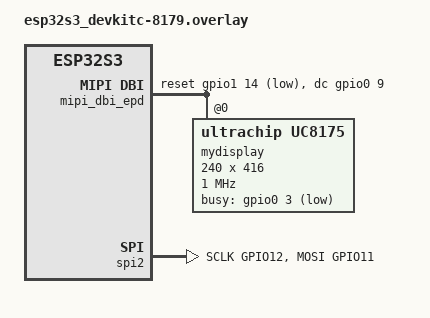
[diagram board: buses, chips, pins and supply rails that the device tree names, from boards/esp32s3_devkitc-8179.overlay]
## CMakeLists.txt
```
cmake_minimum_required(VERSION 3.20.0)

list(APPEND DTS_ROOT ${CMAKE_CURRENT_SOURCE_DIR})

# Zephyr automatically selects boards/esp32s3_devkitc_procpu.overlay for the
# esp32s3_devkitc/esp32s3/procpu board target. Experimental overlays remain
# available via DTC_OVERLAY_FILE when needed.

find_package(Zephyr REQUIRED HINTS $ENV{ZEPHYR_BASE})

project(demo_epaper)

target_sources(app PRIVATE
  src/main.c
  src/demos.c
  drivers/display/uc8253.c
)
```

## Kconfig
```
menu "E-paper LVGL demo"

choice EPAPER_DEMO_MODE
	prompt "Demo shown after boot"
	default EPAPER_DEMO_CYCLE

config EPAPER_DEMO_CYCLE
	bool "Cycle through all demos"

config EPAPER_DEMO_HELLO
	bool "Hello card"

config EPAPER_DEMO_STATUS
	bool "Status panel"

config EPAPER_DEMO_PATTERN
	bool "Monochrome test pattern"

config EPAPER_DEMO_SIDEWAYS
	bool "Sideways text"

endchoice

config EPAPER_DEMO_INTERVAL_SECONDS
	int "Seconds between demos"
	depends on EPAPER_DEMO_CYCLE
	range 5 3600
	default 10

endmenu

source "Kconfig.zephyr"
```

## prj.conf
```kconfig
# Needed for display and LVGL (prevent stack overflow and crash) 
CONFIG_MAIN_STACK_SIZE=8192
CONFIG_HEAP_MEM_POOL_SIZE=32768

# Enable display driver
CONFIG_DISPLAY=y
CONFIG_SPI=y
CONFIG_MIPI_DBI=y

# Enable LVGL widgets
CONFIG_LVGL=y
CONFIG_LV_CONF_MINIMAL=y
CONFIG_LV_USE_LABEL=y
CONFIG_LV_USE_IMG=y
CONFIG_LV_FONT_MONTSERRAT_14=y
CONFIG_LV_FONT_MONTSERRAT_20=y

# monochrome
CONFIG_LV_Z_BITS_PER_PIXEL=1
CONFIG_LV_COLOR_DEPTH_1=y

# DPI (416 px / 4.16 in ?)
CONFIG_LV_DPI_DEF=100

# use custom malloc/free
CONFIG_LV_MEM_CUSTOM=y

# heap space required (app dependent)
# CONFIG_LV_Z_MEM_POOL_NUMBER_BLOCKS=8

CONFIG_LV_Z_MEM_POOL_SIZE=8192
# Keep the render buffer below 100% so LVGL flushes a frame in several tiles.
# Zephyr's EPD adapter enables blanking on the first tile and disables it on the
# last tile; that final transition starts the UC8253 refresh.
CONFIG_LV_Z_VDB_SIZE=10

# Cycle through the demos. Select one of EPAPER_DEMO_HELLO,
# EPAPER_DEMO_STATUS, EPAPER_DEMO_PATTERN, or EPAPER_DEMO_SIDEWAYS instead to
# show a static demo.
CONFIG_EPAPER_DEMO_SIDEWAYS=y
# CONFIG_EPAPER_DEMO_CYCLE=y
# CONFIG_EPAPER_DEMO_INTERVAL_SECONDS=10

# Enable logging for debugging purposes
CONFIG_LOG=y
CONFIG_LOG_MODE_IMMEDIATE=y
CONFIG_DISPLAY_LOG_LEVEL_DBG=y
```

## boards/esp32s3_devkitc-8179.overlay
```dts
#include <zephyr/dt-bindings/mipi_dbi/mipi_dbi.h>

// SDA / MOSI GPIO 11
// SCL / SCK GPIO 12
// CS GPIO 10
// D/C GPIO 9
// RES GPIO 46 (GPIO1_14)
// BUSY GPIO 3

// Bindings
// /opt/toolchains/zephyr/dts/bindings/display/ultrachip,uc8179.yaml
//    - imports others
// /opt/toolchains/zephyr/dts/bindings/display/ultrachip,uc81xx-common.yaml
// /opt/toolchains/zephyr/dts/bindings/mipi-dbi/mipi-dbi-spi-device.yaml
// 		/opt/toolchains/zephyr/dts/bindings/mipi-dbi/mipi-dbi-device.yaml
// 				/opt/toolchains/zephyr/dts/bindings/base/base.yaml
//					pm.yaml
// 				/opt/toolchains/zephyr/dts/bindings/base/power.yaml
// /opt/toolchains/zephyr/dts/bindings/display/display-controller.yaml
// DTS
// /opt/toolchains/zephyr/boards/shields/waveshare_epaper/waveshare_epaper_gdew075t7.overlay

/ {
	chosen {
		zephyr,display = &mydisplay;
	};
	
	mipi_dbi_epd {
		// /opt/toolchains/zephyr/dts/bindings/mipi-dbi/zephyr,mipi-dbi-spi.yaml
		compatible = "zephyr,mipi-dbi-spi";
		// duplex
		// mipi-cpol
		// mipi-cpha
		// mipi-hold-cs
		// /opt/toolchains/zephyr/dts/bindings/mipi-dbi/mipi-dbi-device.yaml
		// mipi-mode
		// mipi-max-frequency
		
		spi-dev = <&spi2>;
		dc-gpios = <&gpio0 9 GPIO_ACTIVE_HIGH>;
		reset-gpios = <&gpio1 14 GPIO_ACTIVE_LOW>;   /* GPIO46 */
		#address-cells = <1>;
		#size-cells = <0>;
		
		// https://docs.zephyrproject.org/latest/build/dts/api/bindings/display/ultrachip%2Cuc8179.html
		
		mydisplay: uc8253@0 {
			// /opt/toolchains/zephyr/dts/bindings/display/ultrachip,uc81xx-common.yaml
			compatible = "ultrachip,uc8175";
			mipi-max-frequency = <1000000>;
			reg = <0>;
			busy-gpios = <&gpio0 3 GPIO_ACTIVE_LOW>;
			softstart = [17 17 17 17];
			full {
				pwr = [07 07 3f 3f];
				cdi = <07>;
				tcon = <0x22>;
				// pwr:
				// cdi:
				// tcon:
				// pll:
				// vdcs:
				// lutc:	
				// lutww:
				// lutkw:
				// lutwk:
				// lutkk:
				// lutbd:
			};
			
			// /opt/toolchains/zephyr/dts/bindings/display/display-controller.yaml
			// (in px)
			width = <240>;
			height = <416>;
		};
	};
};

&spi2 {
	pinctrl-0 = <&spi2_epaper_pins>;
	pinctrl-names = "default";
	cs-gpios = <&gpio0 10 GPIO_ACTIVE_LOW>;
	status = "okay";
};

&pinctrl {
	spi2_epaper_pins: spi2_epaper_pins {
		group1 {
			pinmux = <SPIM2_SCLK_GPIO12>;
		};
		group2 {
			pinmux = <SPIM2_MOSI_GPIO11>;
			output-low;
		};
	};
};
```

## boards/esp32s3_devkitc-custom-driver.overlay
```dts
#include <zephyr/dt-bindings/mipi_dbi/mipi_dbi.h>

// SDA / MOSI GPIO 11
// SCL / SCK GPIO 12
// CS GPIO 10
// D/C GPIO 9
// RES GPIO 46 (GPIO1_14)
// BUSY GPIO 3

/ {
	chosen {
		zephyr,display = &mydisplay;
		// zephyr,concat-buf-size
		// for streamling larget amounts of data. If you need more, look into I2C_BITRATE_FAST
	};
	
	// mini-dbi-device.yaml (included by mipi-dbi-spi-device.yaml)
	// base.yaml, power.yaml (included by mipi-dbi-device.yaml)
	mipi_dbi_epd {
		compatible = "zephyr,mipi-dbi-spi";
		// /opt/toolchains/zephyr/dts/bindings/mipi-dbi/zephyr,mipi-dbi-spi.yaml
		spi-dev = <&spi2>;
		dc-gpios = <&gpio0 9 GPIO_ACTIVE_HIGH>;
		reset-gpios = <&gpio1 14 GPIO_ACTIVE_LOW>;   /* GPIO46 */
		#address-cells = <1>;
		#size-cells = <0>;
		
		mydisplay: uc8253@0 {
			compatible = "ultrachip,uc8253";
			// /workspaces/zephyr-devcontainer/apps/10_demo_epaper/dts/bindings/display/ultrachip,uc8253.yaml
			reg = <0>;
			mipi-max-frequency = <1000000>;
			busy-gpios = <&gpio0 3 GPIO_ACTIVE_LOW>;
			psr = [1F 0D];
			// 
			// display-controller.yaml
			// (in px)
			width = <240>;
			height = <416>;
		};
	};
};

&spi2 {
	pinctrl-0 = <&spi2_epaper_pins>;
	pinctrl-names = "default";
	cs-gpios = <&gpio0 10 GPIO_ACTIVE_LOW>;
	status = "okay";
};

&pinctrl {
	spi2_epaper_pins: spi2_epaper_pins {
		group1 {
			pinmux = <SPIM2_SCLK_GPIO12>;
		};
		group2 {
			pinmux = <SPIM2_MOSI_GPIO11>;
			output-low;
		};
	};
};
```

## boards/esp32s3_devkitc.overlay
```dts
#include <zephyr/dt-bindings/mipi_dbi/mipi_dbi.h>

/*
 * WeAct Studio 3.7" GDEY037T03 / UC8253
 *
 * MOSI GPIO11, SCLK GPIO12, CS GPIO10, D/C GPIO9,
 * RESET GPIO46 (gpio1 offset 14), BUSY GPIO3.
 */

/ {
	chosen {
		zephyr,display = &epaper;
		zephyr,console = &usb_serial;
		zephyr,shell-uart = &usb_serial;
	};

	mipi_dbi_epd: mipi_dbi_epd {
		compatible = "zephyr,mipi-dbi-spi";
		spi-dev = <&spi2>;
		dc-gpios = <&gpio0 9 GPIO_ACTIVE_HIGH>;
		reset-gpios = <&gpio1 14 GPIO_ACTIVE_LOW>; /* GPIO46 */
		write-only;
		#address-cells = <1>;
		#size-cells = <0>;

		epaper: uc8253@0 {
			compatible = "ultrachip,uc8253";
			reg = <0>;
			mipi-max-frequency = <1000000>;
			mipi-hold-cs;
			busy-gpios = <&gpio0 3 GPIO_ACTIVE_LOW>;
			psr = [1f 0d];
			width = <240>;
			height = <416>;
		};
	};
};

&spi2 {
	pinctrl-0 = <&spi2_epaper_pins>;
	pinctrl-names = "default";
	cs-gpios = <&gpio0 10 GPIO_ACTIVE_LOW>;
	status = "okay";
};

&pinctrl {
	spi2_epaper_pins: spi2_epaper_pins {
		group1 {
			pinmux = <SPIM2_SCLK_GPIO12>;
		};
		group2 {
			pinmux = <SPIM2_MOSI_GPIO11>;
			output-low;
		};
	};
};

&usb_serial {
	status = "okay";
};
```

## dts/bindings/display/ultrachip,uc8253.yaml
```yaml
# Copyright (c) 2026
# SPDX-License-Identifier: Apache-2.0

description: |
  UltraChip UC8253 EPD display controller as used by the Good Display
  GDEY037T03 240x416 monochrome panel.

  The binding follows the structure of Zephyr's ultrachip,uc81xx-common
  binding. This driver currently supports full updates only, so refresh
  profile child nodes are not exposed yet.

compatible: "ultrachip,uc8253"

include: [mipi-dbi-spi-device.yaml, display-controller.yaml]

properties:
  busy-gpios:
    type: phandle-array
    required: true
    description: |
      BUSY pin. The UC8253 BUSY signal is active low, so a directly
      connected MCU pin should use GPIO_ACTIVE_LOW.

  psr:
    type: uint8-array
    default: [0x1F, 0x0D]
    description: |
      Two-byte Panel Setting Register value. The default matches the
      GDEY037T03 panel's OTP waveform configuration in GxEPD2.
```

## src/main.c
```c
#include <lvgl.h>
#include <zephyr/device.h>
#include <zephyr/drivers/display.h>
#include <zephyr/kernel.h>

#include "demos.h"

static void show_demo(enum epaper_demo_id id, uint32_t sequence)
{
	printk("Rendering LVGL demo: %s\n", epaper_demo_name(id));
	epaper_demo_render(id, sequence);

	/* Render now. The final LVGL tile triggers the e-paper refresh. */
	lv_refr_now(NULL);
	printk("Refresh complete: %s\n", epaper_demo_name(id));
}

int main(void)
{
	const struct device *display = DEVICE_DT_GET(DT_CHOSEN(zephyr_display));
	struct display_capabilities capabilities;
	uint32_t sequence = 0;

	printk("\n=== E-Paper LVGL demos ===\n");

	if (!device_is_ready(display)) {
		printk("Display device not ready\n");
		return 0;
	}

	display_get_capabilities(display, &capabilities);
	printk("Display ready: %u x %u\n", capabilities.x_resolution, capabilities.y_resolution);

#if defined(CONFIG_EPAPER_DEMO_CYCLE)
	for (;;) {
		enum epaper_demo_id id = sequence % EPAPER_DEMO_ID_COUNT;

		show_demo(id, sequence);
		sequence++;
		k_sleep(K_SECONDS(CONFIG_EPAPER_DEMO_INTERVAL_SECONDS));
	}
#else
#if defined(CONFIG_EPAPER_DEMO_STATUS)
	show_demo(EPAPER_DEMO_ID_STATUS, sequence);
#elif defined(CONFIG_EPAPER_DEMO_PATTERN)
	show_demo(EPAPER_DEMO_ID_PATTERN, sequence);
#elif defined(CONFIG_EPAPER_DEMO_SIDEWAYS)
	show_demo(EPAPER_DEMO_ID_SIDEWAYS, sequence);
#else
	show_demo(EPAPER_DEMO_ID_HELLO, sequence);
#endif

	for (;;) {
		k_sleep(K_FOREVER);
	}
#endif

	return 0;
}
```

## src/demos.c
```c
#include "demos.h"

#include <stdbool.h>
#include <stdio.h>
#include <string.h>

#include <zephyr/kernel.h>

static lv_obj_t *make_label(lv_obj_t *parent, const char *text, const lv_font_t *font)
{
	lv_obj_t *label = lv_label_create(parent);

	lv_label_set_text(label, text);
	lv_obj_set_style_text_color(label, lv_color_black(), 0);
	lv_obj_set_style_text_font(label, font, 0);
	lv_obj_set_style_text_align(label, LV_TEXT_ALIGN_CENTER, 0);

	return label;
}

static lv_obj_t *make_box(lv_obj_t *parent, lv_coord_t width, lv_coord_t height, bool filled)
{
	lv_obj_t *box = lv_obj_create(parent);

	lv_obj_remove_style_all(box);
	lv_obj_set_size(box, width, height);
	lv_obj_set_style_bg_color(box, filled ? lv_color_black() : lv_color_white(), 0);
	lv_obj_set_style_bg_opa(box, LV_OPA_COVER, 0);
	lv_obj_set_style_border_color(box, lv_color_black(), 0);
	lv_obj_set_style_border_width(box, 2, 0);
	lv_obj_set_style_pad_all(box, 8, 0);
	lv_obj_clear_flag(box, LV_OBJ_FLAG_SCROLLABLE);

	return box;
}

static lv_obj_t *prepare_screen(void)
{
	lv_obj_t *screen = lv_scr_act();

	lv_obj_clean(screen);
	lv_obj_remove_style_all(screen);
	lv_obj_set_style_bg_color(screen, lv_color_white(), 0);
	lv_obj_set_style_bg_opa(screen, LV_OPA_COVER, 0);
	lv_obj_set_style_text_color(screen, lv_color_black(), 0);
	lv_obj_set_style_pad_all(screen, 0, 0);
	lv_obj_clear_flag(screen, LV_OBJ_FLAG_SCROLLABLE);

	return screen;
}

#define CARD_IMAGE_WIDTH 64
#define CARD_IMAGE_HEIGHT 190
#define FREE_IMAGE_WIDTH 32
#define FREE_IMAGE_HEIGHT 90

static uint8_t card_image_buffer[LV_IMG_BUF_SIZE_INDEXED_1BIT(CARD_IMAGE_WIDTH,
							      CARD_IMAGE_HEIGHT)];
static uint8_t free_image_buffer[LV_IMG_BUF_SIZE_INDEXED_1BIT(FREE_IMAGE_WIDTH,
							      FREE_IMAGE_HEIGHT)];
static lv_img_dsc_t card_image_dsc;
static lv_img_dsc_t free_image_dsc;

static void set_image_pixel(uint8_t *buffer, lv_coord_t width, lv_coord_t x, lv_coord_t y)
{
	uint8_t *pixels = buffer + (sizeof(lv_color32_t) * 2U);
	uint32_t stride = ((uint32_t)width + 7U) / 8U;

	pixels[(uint32_t)y * stride + ((uint32_t)x / 8U)] |=
		1U << (7U - ((uint32_t)x & 7U));
}

static lv_obj_t *make_rotated_text_image(lv_obj_t *parent, const char *text,
					 const lv_font_t *font, lv_coord_t width,
					 lv_coord_t height, bool clockwise,
					 lv_color_t foreground, lv_color_t background,
					 uint8_t *buffer, size_t buffer_size,
					 lv_img_dsc_t *image_dsc)
{
	lv_coord_t source_width = height;
	lv_coord_t source_height = width;
	lv_coord_t text_width = 0;
	lv_coord_t pen_x;
	lv_coord_t line_y;

	for (size_t i = 0; text[i] != '\0'; i++) {
		text_width += lv_font_get_glyph_width(font, (uint8_t)text[i],
						      (uint8_t)text[i + 1]);
	}

	memset(buffer, 0, buffer_size);
	memset(image_dsc, 0, sizeof(*image_dsc));
	image_dsc->header.cf = LV_IMG_CF_INDEXED_1BIT;
	image_dsc->header.w = width;
	image_dsc->header.h = height;
	image_dsc->data_size = buffer_size;
	image_dsc->data = buffer;
	lv_img_buf_set_palette(image_dsc, 0, background);
	lv_img_buf_set_palette(image_dsc, 1, foreground);

	pen_x = (source_width - text_width) / 2;
	line_y = (source_height - font->line_height) / 2;

	for (size_t i = 0; text[i] != '\0'; i++) {
		uint32_t letter = (uint8_t)text[i];
		uint32_t next = (uint8_t)text[i + 1];
		lv_font_glyph_dsc_t glyph;
		const uint8_t *bitmap;
		lv_coord_t glyph_x;
		lv_coord_t glyph_y;

		if (!lv_font_get_glyph_dsc(font, &glyph, letter, next)) {
			continue;
		}

		bitmap = lv_font_get_glyph_bitmap(glyph.resolved_font, letter);
		glyph_x = pen_x + glyph.ofs_x;
		glyph_y = line_y + font->line_height - font->base_line - glyph.box_h - glyph.ofs_y;

		if (bitmap != NULL) {
			uint8_t mask = (1U << glyph.bpp) - 1U;

			for (lv_coord_t y = 0; y < glyph.box_h; y++) {
				for (lv_coord_t x = 0; x < glyph.box_w; x++) {
					uint32_t bit_index =
						((uint32_t)y * glyph.box_w + x) * glyph.bpp;
					uint8_t value =
						(bitmap[bit_index / 8U] >>
						 (8U - glyph.bpp - (bit_index & 7U))) &
						mask;
					lv_coord_t source_x = glyph_x + x;
					lv_coord_t source_y = glyph_y + y;
					lv_coord_t dest_x;
					lv_coord_t dest_y;

					if (value < ((mask + 1U) / 2U) || source_x < 0 ||
					    source_x >= source_width || source_y < 0 ||
					    source_y >= source_height) {
						continue;
					}

					if (clockwise) {
						dest_x = source_height - 1 - source_y;
						dest_y = source_x;
					} else {
						dest_x = source_y;
						dest_y = source_width - 1 - source_x;
					}

					set_image_pixel(buffer, width, dest_x, dest_y);
				}
			}
		}

		pen_x += glyph.adv_w;
	}

	lv_obj_t *image = lv_img_create(parent);
	lv_img_set_src(image, image_dsc);
	return image;
}

static void render_hello(lv_obj_t *screen)
{
	lv_obj_t *title = make_label(screen, "LVGL + E-PAPER", &lv_font_montserrat_20);
	lv_obj_t *card = make_box(screen, 200, 112, true);
	lv_obj_t *message =
		make_label(card, "Hello!\n\nThe display works.", &lv_font_montserrat_14);
	lv_obj_t *footer = make_label(screen, "ESP32-S3 / UC8253", &lv_font_montserrat_14);

	lv_obj_align(title, LV_ALIGN_TOP_MID, 0, 38);
	lv_obj_align(card, LV_ALIGN_CENTER, 0, -5);
	lv_obj_set_style_text_color(message, lv_color_white(), 0);
	lv_obj_center(message);
	lv_obj_align(footer, LV_ALIGN_BOTTOM_MID, 0, -38);
}

static void render_status(lv_obj_t *screen, uint32_t sequence)
{
	char status[128];
	uint32_t percentage = 25U + ((sequence * 25U) % 76U);
	lv_obj_t *title = make_label(screen, "DISPLAY STATUS", &lv_font_montserrat_20);
	lv_obj_t *divider = make_box(screen, 200, 3, true);
	lv_obj_t *details;
	lv_obj_t *bar_outline;
	lv_obj_t *bar_fill;
	lv_obj_t *footer;

	snprintf(status, sizeof(status),
		 "Panel: 240 x 416\nController: UC8253\nRefresh: %u\nUptime: %lld s", sequence + 1U,
		 k_uptime_get() / 1000);
	details = make_label(screen, status, &lv_font_montserrat_14);

	bar_outline = make_box(screen, 190, 28, false);
	lv_obj_set_style_pad_all(bar_outline, 3, 0);
	bar_fill = make_box(bar_outline, (180 * percentage) / 100, 18, true);
	lv_obj_set_style_border_width(bar_fill, 0, 0);
	lv_obj_align(bar_fill, LV_ALIGN_LEFT_MID, 0, 0);

	snprintf(status, sizeof(status), "DEMO LEVEL %u%%", percentage);
	footer = make_label(screen, status, &lv_font_montserrat_14);

	lv_obj_align(title, LV_ALIGN_TOP_MID, 0, 32);
	lv_obj_align(divider, LV_ALIGN_TOP_MID, 0, 68);
	lv_obj_align(details, LV_ALIGN_TOP_MID, 0, 100);
	lv_obj_align(bar_outline, LV_ALIGN_BOTTOM_MID, 0, -74);
	lv_obj_align(footer, LV_ALIGN_BOTTOM_MID, 0, -38);
}

static void render_pattern(lv_obj_t *screen)
{
	const lv_coord_t cell_size = 34;
	const lv_coord_t gap = 2;
	const int columns = 5;
	const int rows = 6;
	const lv_coord_t pattern_width = columns * cell_size + (columns - 1) * gap;
	const lv_coord_t pattern_height = rows * cell_size + (rows - 1) * gap;
	lv_obj_t *title = make_label(screen, "MONO TEST", &lv_font_montserrat_20);
	lv_obj_t *pattern = lv_obj_create(screen);
	lv_obj_t *footer = make_label(screen, "BLACK / WHITE / BORDER", &lv_font_montserrat_14);

	lv_obj_remove_style_all(pattern);
	lv_obj_set_size(pattern, pattern_width, pattern_height);
	lv_obj_align(pattern, LV_ALIGN_CENTER, 0, -2);

	for (int row = 0; row < rows; row++) {
		for (int column = 0; column < columns; column++) {
			lv_obj_t *cell =
				make_box(pattern, cell_size, cell_size, ((row + column) % 2) == 0);

			lv_obj_set_pos(cell, column * (cell_size + gap), row * (cell_size + gap));
		}
	}

	lv_obj_align(title, LV_ALIGN_TOP_MID, 0, 32);
	lv_obj_align(footer, LV_ALIGN_BOTTOM_MID, 0, -34);
}

static void render_sideways(lv_obj_t *screen)
{
	lv_obj_t *title = make_label(screen, "NORMAL TEXT", &lv_font_montserrat_20);
	lv_obj_t *card = make_rotated_text_image(
		screen, "SIDEWAYS", &lv_font_montserrat_20, CARD_IMAGE_WIDTH, CARD_IMAGE_HEIGHT,
		true, lv_color_white(), lv_color_black(), card_image_buffer,
		sizeof(card_image_buffer), &card_image_dsc);
	lv_obj_t *free_text = make_rotated_text_image(
		screen, "NO BOX", &lv_font_montserrat_20, FREE_IMAGE_WIDTH, FREE_IMAGE_HEIGHT,
		false, lv_color_black(), lv_color_white(), free_image_buffer,
		sizeof(free_image_buffer), &free_image_dsc);
	lv_obj_t *direction = make_label(screen, "CARD: 90 DEG CW", &lv_font_montserrat_14);
	lv_obj_t *footer = make_label(screen, "TEXT: 90 DEG CCW", &lv_font_montserrat_14);

	lv_obj_align(title, LV_ALIGN_TOP_MID, 0, 30);
	lv_obj_set_pos(card, 135 - (CARD_IMAGE_WIDTH / 2), 208 - (CARD_IMAGE_HEIGHT / 2));
	lv_obj_set_pos(free_text, 42 - (FREE_IMAGE_WIDTH / 2),
		       208 - (FREE_IMAGE_HEIGHT / 2));
	lv_obj_align(direction, LV_ALIGN_BOTTOM_MID, 0, -68);
	lv_obj_align(footer, LV_ALIGN_BOTTOM_MID, 0, -30);
}

const char *epaper_demo_name(enum epaper_demo_id id)
{
	switch (id) {
	case EPAPER_DEMO_ID_HELLO:
		return "hello";
	case EPAPER_DEMO_ID_STATUS:
		return "status";
	case EPAPER_DEMO_ID_PATTERN:
		return "pattern";
	case EPAPER_DEMO_ID_SIDEWAYS:
		return "sideways";
	default:
		return "unknown";
	}
}

void epaper_demo_render(enum epaper_demo_id id, uint32_t sequence)
{
	lv_obj_t *screen = prepare_screen();

	switch (id) {
	case EPAPER_DEMO_ID_HELLO:
		render_hello(screen);
		break;
	case EPAPER_DEMO_ID_STATUS:
		render_status(screen, sequence);
		break;
	case EPAPER_DEMO_ID_PATTERN:
		render_pattern(screen);
		break;
	case EPAPER_DEMO_ID_SIDEWAYS:
		render_sideways(screen);
		break;
	default:
		render_hello(screen);
		break;
	}

	lv_obj_invalidate(screen);
}
```

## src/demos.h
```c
#ifndef EPAPER_DEMOS_H_
#define EPAPER_DEMOS_H_

#include <stdint.h>

#include <lvgl.h>

enum epaper_demo_id {
	EPAPER_DEMO_ID_HELLO,
	EPAPER_DEMO_ID_STATUS,
	EPAPER_DEMO_ID_PATTERN,
	EPAPER_DEMO_ID_SIDEWAYS,
	EPAPER_DEMO_ID_COUNT,
};

const char *epaper_demo_name(enum epaper_demo_id id);
void epaper_demo_render(enum epaper_demo_id id, uint32_t sequence);

#endif /* EPAPER_DEMOS_H_ */
```
